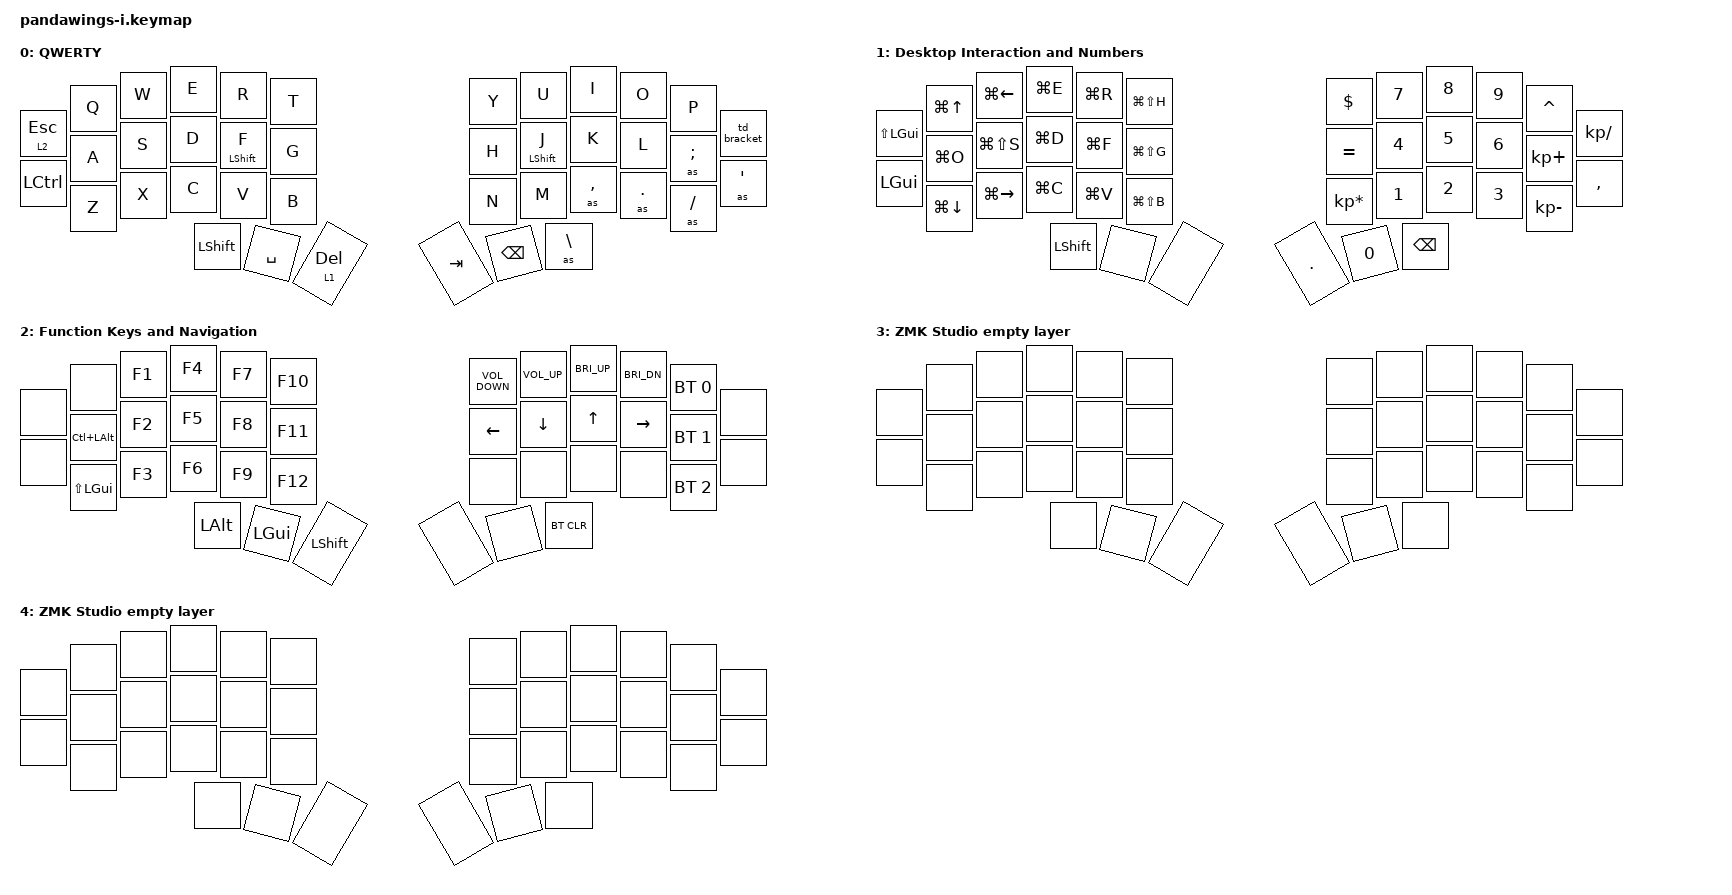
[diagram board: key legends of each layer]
// This file was generated from a template. Edit it to match your keyboard.
// See https://zmk.dev/docs/development/hardware-integration/new-shield for more instructions.

#include <behaviors.dtsi>
#include <dt-bindings/zmk/keys.h>
#include <dt-bindings/zmk/bt.h>

/ {
    behaviors {
        ht_as: autoshift_hold_tap {
            compatible = "zmk,behavior-hold-tap";
            #binding-cells = <2>;
            tapping-term-ms = <175>;
            bindings = <&shifted>, <&kp>;
        };

        hm: homerow_mods {
            compatible = "zmk,behavior-hold-tap";
            #binding-cells = <2>;
            flavor = "tap-unless-interrupted";
            tapping-term-ms = <300>;
            quick-tap-ms = <200>;
            bindings = <&kp>, <&kp>;

            require-prior-idle-ms = <50>;
        };

        td_bracket: td_bracket {
            compatible = "zmk,behavior-tap-dance";
            label = "TD_BRACKET";
            #binding-cells = <0>;
            bindings = <&as LEFT_BRACKET>, <&as RIGHT_BRACKET>;
        };
    };

    combos {
        compatible = "zmk,combos";

        select_all {
            bindings = <&kp LC(A)>;
            key-positions = <23 24>;
            layers = <0>;
        };

        copy {
            bindings = <&kp LC(C)>;
            key-positions = <24 25>;
            layers = <0>;
        };

        paste {
            bindings = <&kp LC(V)>;
            key-positions = <25 26>;
            layers = <0>;
        };

        cut {
            bindings = <&kp LC(X)>;
            key-positions = <26 27>;
            layers = <0>;
        };

        line_start {
            bindings = <&kp HOME>;
            key-positions = <12 13 14>;
            layers = <0>;
        };

        line_end {
            bindings = <&kp END>;
            key-positions = <17 18 19>;
            layers = <0>;
        };

        return {
            bindings = <&kp RETURN>;
            key-positions = <36 37>;
            layers = <0>;
        };

        controller_reset {
            bindings = <&bootloader>;
            key-positions = <0 1 2 3>;
            layers = <0>;
        };

        zmk_studio_unlock {
            bindings = <&studio_unlock>;
            key-positions = <0 1 10>;
            layers = <0>;
        };
    };

    macros {
        shifted: macro_shifted_kp {
            #binding-cells = <1>;
            compatible = "zmk,behavior-macro-one-param";
            bindings =
                <&macro_press>,
                <&kp LSHFT &macro_param_1to1>,
                <&macro_tap>,
                <&kp MACRO_PLACEHOLDER>,
                <&macro_release>,
                <&kp LEFT_SHIFT>;
        };

        as: autoshift {
            compatible = "zmk,behavior-macro-one-param";
            #binding-cells = <1>;
            bindings =
                <&macro_press>,
                <&macro_param_1to1 &macro_param_1to2 &ht_as MACRO_PLACEHOLDER MACRO_PLACEHOLDER>,
                <&macro_pause_for_release>,
                <&macro_release>,
                <&macro_param_1to1 &macro_param_1to2 &ht_as MACRO_PLACEHOLDER MACRO_PLACEHOLDER>;
        };  
    };

    // Define a default keymap here.
    // See https://zmk.dev/docs/development/hardware-integration/new-shield#default-keymap.
    keymap {
        compatible = "zmk,keymap";

//                    | SW2  | SW3  | SW4  | SW5  | SW6  |  | SW27 | SW26 | SW25 | SW24 | SW23 | 
//             | SW7  | SW8  | SW9  | SW10 | SW11 | SW12 |  | SW33 | SW32 | SW31 | SW30 | SW29 | SW34 |
//             | SW13 | SW14 | SW15 | SW16 | SW17 | SW18 |  | SW39 | SW38 | SW37 | SW36 | SW35 | SW28 |
//                                  | SW19 | SW20 | SW21 |  | SW42 | SW41 | SW40 |

        default_layer {
            display-name = "QWERTY";
            bindings = <
//                   ┌───┬───┬───┬────────────┬─────┐                    ┌──────┬────────────┬───────┬───────┬───────┐
//                   │ Q │ W │ E │     R      │  T  │                    │  Y   │     U      │   I   │   O   │   P   │
//    ┌──────────────┼───┼───┼───┼────────────┼─────┤                    ├──────┼────────────┼───────┼───────┼───────┼─────────────┐
//    │   lt 2 esc   │ A │ S │ D │ &hm lsft F │  G  │                    │  H   │ &hm lsft J │   K   │   L   │ &as ; │ &td_bracket │
//    ├──────────────┼───┼───┼───┼────────────┼─────┤                    ├──────┼────────────┼───────┼───────┼───────┼─────────────┤
//    │ left_CONTROL │ Z │ X │ C │     V      │  B  │                    │  N   │     M      │ &as , │ &as . │ &as / │    &as '    │
//    └──────────────┴───┴───┴───┼────────────┼─────┼──────────┐   ┌─────┼──────┼────────────┼───────┴───────┴───────┴─────────────┘
//                               │    lsft    │ spc │ lt 1 del │   │ tab │ bspc │   &as \    │
//                               └────────────┴─────┴──────────┘   └─────┴──────┴────────────┘
                     &kp Q   &kp W   &kp E   &kp R              &kp T                                 &kp Y           &kp U              &kp I       &kp O     &kp P
  &lt 2 ESCAPE       &kp A   &kp S   &kp D   &hm LEFT_SHIFT F   &kp G                                 &kp H           &hm LEFT_SHIFT J   &kp K       &kp L     &as SEMI    &td_bracket
  &kp LEFT_CONTROL   &kp Z   &kp X   &kp C   &kp V              &kp B                                 &kp N           &kp M              &as COMMA   &as DOT   &as SLASH   &as SINGLE_QUOTE
                                             &kp LSHIFT         &kp SPACE   &lt 1 DEL       &kp TAB   &kp BACKSPACE   &as BACKSLASH
            >;
        };

        layer_2 {
            display-name = "Desktop Interaction and Numbers";
            bindings = <
//                 ┌────────────┬───────────────┬─────────┬─────────┬───────────────┐             ┌──────┬──────┬───┬───┬──────┐
//                 │  lgui(up)  │  lgui(left)   │ lgui(E) │ lgui(R) │ lgui(lsft(H)) │             │  $   │  7   │ 8 │ 9 │  ^   │
//    ┌────────────┼────────────┼───────────────┼─────────┼─────────┼───────────────┤             ├──────┼──────┼───┼───┼──────┼──────┐
//    │ lsft(lgui) │  lgui(O)   │ lgui(lsft(S)) │ lgui(D) │ lgui(F) │ lgui(lsft(G)) │             │  =   │  4   │ 5 │ 6 │ kp_+ │ kp_/ │
//    ├────────────┼────────────┼───────────────┼─────────┼─────────┼───────────────┤             ├──────┼──────┼───┼───┼──────┼──────┤
//    │    lgui    │ lgui(down) │  lgui(rght)   │ lgui(C) │ lgui(V) │ lgui(lsft(B)) │             │ kp_* │  1   │ 2 │ 3 │ kp_- │  ,   │
//    └────────────┴────────────┴───────────────┴─────────┼─────────┼───────────────┼─────┐   ┌───┼──────┼──────┼───┴───┴──────┴──────┘
//                                                        │  lsft   │               │     │   │ . │  0   │ bspc │
//                                                        └─────────┴───────────────┴─────┘   └───┴──────┴──────┘
                     &kp LG(UP_ARROW)     &kp LG(LEFT_ARROW)    &kp LG(E)   &kp LG(R)        &kp LG(LS(H))                         &kp DOLLAR        &kp N7          &kp N8   &kp N9   &kp CARET
  &kp LS(LEFT_GUI)   &kp LG(O)            &kp LG(LS(S))         &kp LG(D)   &kp LG(F)        &kp LG(LS(G))                         &kp EQUAL         &kp N4          &kp N5   &kp N6   &kp KP_PLUS    &kp KP_SLASH
  &kp LEFT_GUI       &kp LG(DOWN_ARROW)   &kp LG(RIGHT_ARROW)   &kp LG(C)   &kp LG(V)        &kp LG(LS(B))                         &kp KP_ASTERISK   &kp N1          &kp N2   &kp N3   &kp KP_MINUS   &kp COMMA
                                                                            &kp LEFT_SHIFT   &none           &none       &kp DOT   &kp N0            &kp BACKSPACE
            >;
        };

        layer_3 {
            display-name = "Function Keys and Navigation";
            bindings = <
//          ┌────────────┬────┬────┬──────┬──────┐                ┌──────┬────────┬──────┬──────┬──────────┐
//          │            │ f1 │ f4 │  f7  │ f10  │                │ vold │  volu  │ bri+ │ bri- │ bt_sel 0 │
//    ┌─────┼────────────┼────┼────┼──────┼──────┤                ├──────┼────────┼──────┼──────┼──────────┼─────┐
//    │     │ lctl(lalt) │ f2 │ f5 │  f8  │ f11  │                │ left │  down  │  up  │ rght │ bt_sel 1 │     │
//    ├─────┼────────────┼────┼────┼──────┼──────┤                ├──────┼────────┼──────┼──────┼──────────┼─────┤
//    │     │ lsft(lgui) │ f3 │ f6 │  f9  │ f12  │                │      │        │      │      │ bt_sel 2 │     │
//    └─────┴────────────┴────┴────┼──────┼──────┼──────┐   ┌─────┼──────┼────────┼──────┴──────┴──────────┴─────┘
//                                 │ lalt │ lgui │ lsft │   │     │      │ bt_clr │
//                                 └──────┴──────┴──────┘   └─────┴──────┴────────┘
          &none              &kp F1   &kp F4   &kp F7         &kp F10                            &kp C_VOLUME_DOWN   &kp C_VOLUME_UP   &kp C_BRI_UP   &kp C_BRI_DN      &bt BT_SEL 0
  &none   &kp LC(LEFT_ALT)   &kp F2   &kp F5   &kp F8         &kp F11                            &kp LEFT_ARROW      &kp DOWN_ARROW    &kp UP_ARROW   &kp RIGHT_ARROW   &bt BT_SEL 1   &none
  &none   &kp LS(LEFT_GUI)   &kp F3   &kp F6   &kp F9         &kp F12                            &none               &none             &none          &none             &bt BT_SEL 2   &none
                                               &kp LEFT_ALT   &kp LGUI   &kp LSHFT       &none   &none               &bt BT_CLR
            >;
        };

        layer_4 {
            display-name = "ZMK Studio empty layer";
            bindings = <
//          ┌─────┬─────┬─────┬─────┬─────┐               ┌─────┬─────┬─────┬─────┬─────┐
//          │     │     │     │     │     │               │     │     │     │     │     │
//    ┌─────┼─────┼─────┼─────┼─────┼─────┤               ├─────┼─────┼─────┼─────┼─────┼─────┐
//    │     │     │     │     │     │     │               │     │     │     │     │     │     │
//    ├─────┼─────┼─────┼─────┼─────┼─────┤               ├─────┼─────┼─────┼─────┼─────┼─────┤
//    │     │     │     │     │     │     │               │     │     │     │     │     │     │
//    └─────┴─────┴─────┴─────┼─────┼─────┼─────┐   ┌─────┼─────┼─────┼─────┴─────┴─────┴─────┘
//                            │     │     │     │   │     │     │     │
//                            └─────┴─────┴─────┘   └─────┴─────┴─────┘
          &none   &none   &none   &none   &none                       &none   &none   &none   &none   &none
  &none   &none   &none   &none   &none   &none                       &none   &none   &none   &none   &none   &none
  &none   &none   &none   &none   &none   &none                       &none   &none   &none   &none   &none   &none
                                  &none   &none   &none       &none   &none   &none
            >;
        };

        layer_5 {
            display-name = "ZMK Studio empty layer";
            bindings = <
//          ┌─────┬─────┬─────┬─────┬─────┐               ┌─────┬─────┬─────┬─────┬─────┐
//          │     │     │     │     │     │               │     │     │     │     │     │
//    ┌─────┼─────┼─────┼─────┼─────┼─────┤               ├─────┼─────┼─────┼─────┼─────┼─────┐
//    │     │     │     │     │     │     │               │     │     │     │     │     │     │
//    ├─────┼─────┼─────┼─────┼─────┼─────┤               ├─────┼─────┼─────┼─────┼─────┼─────┤
//    │     │     │     │     │     │     │               │     │     │     │     │     │     │
//    └─────┴─────┴─────┴─────┼─────┼─────┼─────┐   ┌─────┼─────┼─────┼─────┴─────┴─────┴─────┘
//                            │     │     │     │   │     │     │     │
//                            └─────┴─────┴─────┘   └─────┴─────┴─────┘
          &none   &none   &none   &none   &none                       &none   &none   &none   &none   &none
  &none   &none   &none   &none   &none   &none                       &none   &none   &none   &none   &none   &none
  &none   &none   &none   &none   &none   &none                       &none   &none   &none   &none   &none   &none
                                  &none   &none   &none       &none   &none   &none
            >;
        };
    };
};
